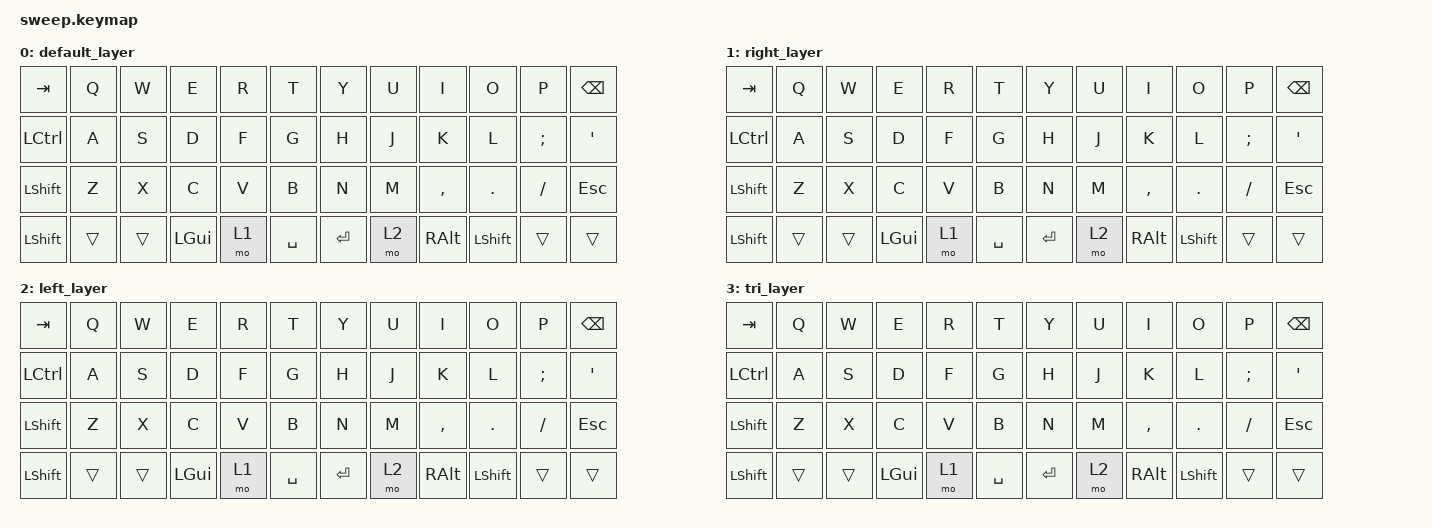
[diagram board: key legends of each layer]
// Copyright (c) 2022 The ZMK Contributors
// SPDX-License-Identifier: MIT

#include <behaviors.dtsi>
#include <dt-bindings/zmk/keys.h>
#include <dt-bindings/zmk/bt.h>

// Home row mods macro
#define HRML(k1,k2,k3,k4) &ht LSHFT k1  &ht LALT k2  &ht LCTRL k3  &ht LGUI k4
#define HRMR(k1,k2,k3,k4) &ht RGUI k1  &ht RCTRL k2  &ht RALT k3  &ht RSHFT k4

/ {
    behaviors {
        ht: hold_tap {
            compatible = "zmk,behavior-hold-tap";
            #binding-cells = <2>;
            flavor = "tap-preferred";
            tapping-term-ms = <220>;
            quick-tap-ms = <150>;
            require-prior-idle-ms = <100>;
            bindings = <&kp>, <&kp>;
        };
    };

    conditional_layers {
        compatible = "zmk,conditional-layers";
        tri_layer {
            if-layers = <1 2>;
            then-layer = <3>;
        };
    };

    keymap {
        compatible = "zmk,keymap";
        default_layer {
            bindings = <
   &kp TAB    &kp Q  &kp W  &kp E     &kp R  &kp T        &kp Y    &kp U  &kp I      &kp O    &kp P     &kp BSPC
   &kp LCTRL  &kp A  &kp S  &kp D     &kp F  &kp G        &kp H    &kp J  &kp K      &kp L    &kp SEMI  &kp SQT
   &kp LSHFT  &kp Z  &kp X  &kp C     &kp V  &kp B        &kp N    &kp M  &kp COMMA  &kp DOT  &kp FSLH  &kp ESC
   &kp LSHFT  &trans    &trans &kp LGUI  &mo 1  &kp SPACE    &kp RET  &mo 2  &kp RALT  &kp LSHFT  &trans    &trans
            >;
        };

        right_layer {
            bindings = <
   &kp TAB    &kp Q  &kp W  &kp E     &kp R  &kp T        &kp Y    &kp U  &kp I      &kp O    &kp P     &kp BSPC
   &kp LCTRL  &kp A  &kp S  &kp D     &kp F  &kp G        &kp H    &kp J  &kp K      &kp L    &kp SEMI  &kp SQT
   &kp LSHFT  &kp Z  &kp X  &kp C     &kp V  &kp B        &kp N    &kp M  &kp COMMA  &kp DOT  &kp FSLH  &kp ESC
   &kp LSHFT  &trans    &trans &kp LGUI  &mo 1  &kp SPACE    &kp RET  &mo 2  &kp RALT  &kp LSHFT  &trans    &trans
            >;
        };

        left_layer {
            bindings = <
   &kp TAB    &kp Q  &kp W  &kp E     &kp R  &kp T        &kp Y    &kp U  &kp I      &kp O    &kp P     &kp BSPC
   &kp LCTRL  &kp A  &kp S  &kp D     &kp F  &kp G        &kp H    &kp J  &kp K      &kp L    &kp SEMI  &kp SQT
   &kp LSHFT  &kp Z  &kp X  &kp C     &kp V  &kp B        &kp N    &kp M  &kp COMMA  &kp DOT  &kp FSLH  &kp ESC
   &kp LSHFT  &trans    &trans &kp LGUI  &mo 1  &kp SPACE    &kp RET  &mo 2  &kp RALT  &kp LSHFT  &trans    &trans
            >;
        };

        tri_layer {
            bindings = <
   &kp TAB    &kp Q  &kp W  &kp E     &kp R  &kp T        &kp Y    &kp U  &kp I      &kp O    &kp P     &kp BSPC
   &kp LCTRL  &kp A  &kp S  &kp D     &kp F  &kp G        &kp H    &kp J  &kp K      &kp L    &kp SEMI  &kp SQT
   &kp LSHFT  &kp Z  &kp X  &kp C     &kp V  &kp B        &kp N    &kp M  &kp COMMA  &kp DOT  &kp FSLH  &kp ESC
   &kp LSHFT  &trans    &trans &kp LGUI  &mo 1  &kp SPACE    &kp RET  &mo 2  &kp RALT  &kp LSHFT  &trans    &trans
            >;
        };
    };
};
